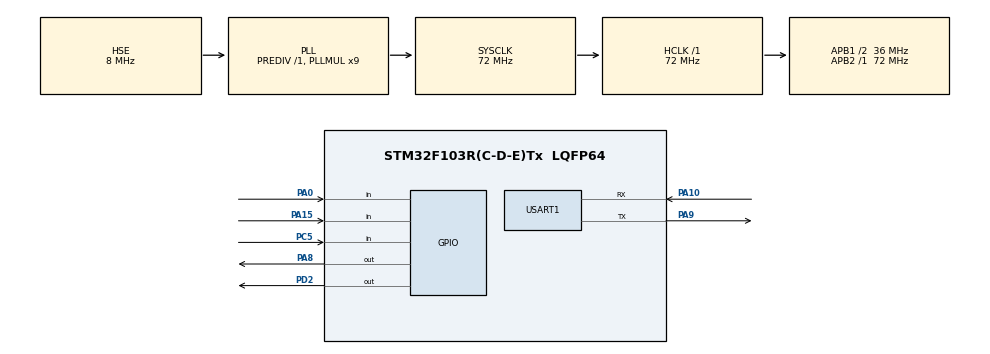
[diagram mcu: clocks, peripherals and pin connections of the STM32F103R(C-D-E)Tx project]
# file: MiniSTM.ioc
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Mcu.Family=STM32F1
Mcu.Name=STM32F103R(C-D-E)Tx
Mcu.Package=LQFP64
NVIC.PriorityGroup=NVIC_PRIORITYGROUP_4
PA0-WKUP.GPIO_PuPd=GPIO_PULLDOWN
PA0-WKUP.Signal=GPIO_Input
PA10.Mode=Asynchronous
PA10.Signal=USART1_RX
PA13.Mode=Serial_Wire
PA13.Signal=SYS_JTMS-SWDIO
PA14.Mode=Serial_Wire
PA14.Signal=SYS_JTCK-SWCLK
PA15.GPIO_PuPd=GPIO_PULLUP
PA15.Signal=GPIO_Input
PA8.GPIO_PuPd=GPIO_PULLUP
PA8.Signal=GPIO_Output
PA9.Mode=Asynchronous
PA9.Signal=USART1_TX
PC14-OSC32_IN.Mode=LSE-External-Oscillator
PC14-OSC32_IN.Signal=RCC_OSC32_IN
PC15-OSC32_OUT.Mode=LSE-External-Oscillator
PC15-OSC32_OUT.Signal=RCC_OSC32_OUT
PC5.GPIO_PuPd=GPIO_PULLUP
PC5.Signal=GPIO_Input
PD0-OSC_IN.Mode=HSE-External-Oscillator
PD0-OSC_IN.Signal=RCC_OSC_IN
PD1-OSC_OUT.Mode=HSE-External-Oscillator
PD1-OSC_OUT.Signal=RCC_OSC_OUT
PD2.GPIO_PuPd=GPIO_PULLUP
PD2.Signal=GPIO_Output
ProjectManager.HeapSize=0x200
ProjectManager.StackSize=0x400
ProjectManager.TargetToolchain=MDK-ARM V5.32
RCC.AHBFreq_Value=72000000
RCC.APB1CLKDivider=RCC_HCLK_DIV2
RCC.APB1Freq_Value=36000000
RCC.APB1TimFreq_Value=72000000
RCC.APB2Freq_Value=72000000
RCC.APB2TimFreq_Value=72000000
RCC.HCLKFreq_Value=72000000
RCC.PLLMUL=RCC_PLL_MUL9
RCC.PLLSourceVirtual=RCC_PLLSOURCE_HSE
RCC.SYSCLKFreq_VALUE=72000000
RCC.SYSCLKSource=RCC_SYSCLKSOURCE_PLLCLK
RCC.USBFreq_Value=72000000
USART1.VirtualMode=VM_ASYNC
board=custom

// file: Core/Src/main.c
/* USER CODE BEGIN Header */
/**
  ******************************************************************************
  * @file           : main.c
  * @brief          : Main program body
  ******************************************************************************
  * @attention
  *
  * Copyright (c) 2022 STMicroelectronics.
  * All rights reserved.
  *
  * This software is licensed under terms that can be found in the LICENSE file
  * in the root directory of this software component.
  * If no LICENSE file comes with this software, it is provided AS-IS.
  *
  ******************************************************************************
  */
/* USER CODE END Header */
#include "main.h"
#include "usart.h"
#include "gpio.h"

/* USER CODE BEGIN Includes */
#include "uart.h"
#include "key.h"
/* USER CODE END Includes */

void SystemClock_Config(void);

int main(void)
{

  /* MCU Configuration--------------------------------------------------------*/

  /* Reset of all peripherals, Initializes the Flash interface and the Systick. */
  HAL_Init();

  /* Configure the system clock */
  SystemClock_Config();

  /* Initialize all configured peripherals */
  MX_GPIO_Init();
  MX_USART1_UART_Init();
  /* USER CODE BEGIN 2 */
	HAL_NVIC_EnableIRQ(USART1_IRQn);				//使能USART1中断通道
	HAL_NVIC_SetPriority(USART1_IRQn,9,0);
	HAL_UART_Receive_IT(&huart1, (uint8_t *)aRxBuffer, RXBUFFERSIZE);
	uint8_t len;
	uint16_t times = 0;
  /* USER CODE END 2 */

  /* Infinite loop */
  /* USER CODE BEGIN WHILE */
  while (1)
  {
		if (USART_RX_STA & 0x8000)
		{
			len = USART_RX_STA&0x3fff;
			printf("\r\n您发送的消息为\r\n");
			HAL_UART_Transmit(&huart1, (uint8_t*)USART_RX_BUF,len,1000);
			while(__HAL_UART_GET_FLAG(&huart1,UART_FLAG_TC) != SET);
			printf("\r\n\r\n");
			USART_RX_STA = 0;
		}
		else
		{
			times++;
//			if(times%5000)
//				printf("\r\n串口实验\r\n");
//			if (times%200==0)
//				printf("\r\n");
			if (times%30==0)
				HAL_GPIO_TogglePin(GPIOA, GPIO_PIN_8);
			HAL_Delay(10);
		}
    /* USER CODE END WHILE */

  }
}

void SystemClock_Config(void)
{
  RCC_OscInitTypeDef RCC_OscInitStruct = {0};
  RCC_ClkInitTypeDef RCC_ClkInitStruct = {0};

  /** Initializes the RCC Oscillators according to the specified parameters
  * in the RCC_OscInitTypeDef structure.
  */
  RCC_OscInitStruct.OscillatorType = RCC_OSCILLATORTYPE_HSE;
  RCC_OscInitStruct.HSEState = RCC_HSE_ON;
  RCC_OscInitStruct.HSEPredivValue = RCC_HSE_PREDIV_DIV1;
  RCC_OscInitStruct.HSIState = RCC_HSI_ON;
  RCC_OscInitStruct.PLL.PLLState = RCC_PLL_ON;
  RCC_OscInitStruct.PLL.PLLSource = RCC_PLLSOURCE_HSE;
  RCC_OscInitStruct.PLL.PLLMUL = RCC_PLL_MUL9;
  if (HAL_RCC_OscConfig(&RCC_OscInitStruct) != HAL_OK)
  {
    Error_Handler();
  }

  /** Initializes the CPU, AHB and APB buses clocks
  */
  RCC_ClkInitStruct.ClockType = RCC_CLOCKTYPE_HCLK|RCC_CLOCKTYPE_SYSCLK
                              |RCC_CLOCKTYPE_PCLK1|RCC_CLOCKTYPE_PCLK2;
  RCC_ClkInitStruct.SYSCLKSource = RCC_SYSCLKSOURCE_PLLCLK;
  RCC_ClkInitStruct.AHBCLKDivider = RCC_SYSCLK_DIV1;
  RCC_ClkInitStruct.APB1CLKDivider = RCC_HCLK_DIV2;
  RCC_ClkInitStruct.APB2CLKDivider = RCC_HCLK_DIV1;

  if (HAL_RCC_ClockConfig(&RCC_ClkInitStruct, FLASH_LATENCY_2) != HAL_OK)
  {
    Error_Handler();
  }
}

void Error_Handler(void)
{
  __disable_irq();
  while (1)
  {
  }
}
